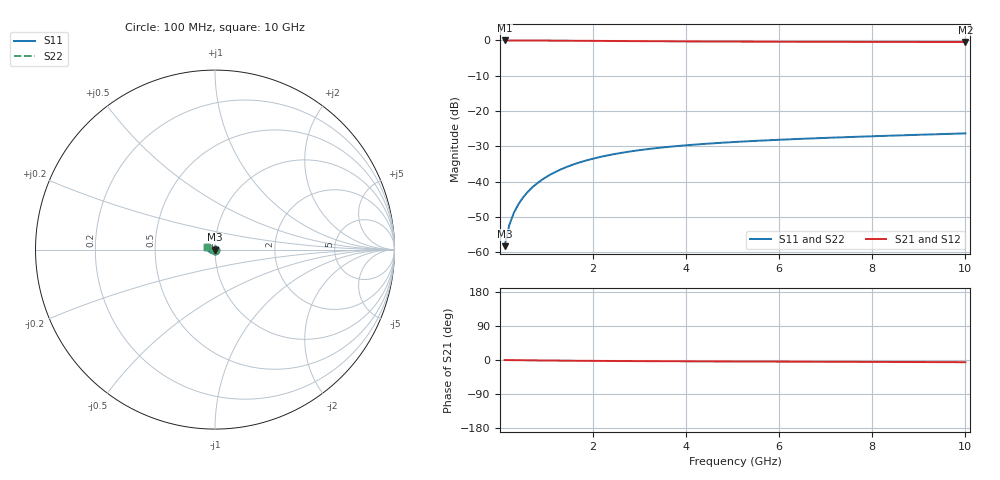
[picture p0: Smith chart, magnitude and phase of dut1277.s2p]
! Touchstone file exported from HFSS 2024.1.0
!  File:  C:/UserFiles/LocalFiles/RDL_TSV_Batchsim/temp_TSV1_1277_1780254906.aedt
!  Generated:  03:20:40 AM Jun  1, 2026
!  Design:  TSV1
!  Project:  temp_TSV1_1277_1780254906
!  Setup:  Setup1
!  Solution:  Sweep
! Variables:
!  dtsv = 9.65um
!  hbump = 3um
!  htsv = 88.11um
!  lrdl = 252.1521522um
!  p = 40
!  p1 = 58.45um
!  t = 500um
!  trdl = 3um
!  wrdl = 24.89489489um
# GHz S MA R 50.000000
! Terminal data exported
! Port[1] = TSV22_T1
! Port[2] = TSV22_T2
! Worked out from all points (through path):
!   100 points, 100 MHz to 10 GHz, reference 50 ohm
!   highest |S21| = 0.00 dB at 100 MHz (marker M1); lowest = -0.4 dB at 10 GHz (marker M2)
!   lowest |S11| = -58.3 dB at 100 MHz (marker M3), VSWR 1.00, Z = 50 - j0.121 ohm
!   |S11| at or under -10 dB: start of sweep to end of sweep
!   |S22| runs from -58.3 to -26.4 dB; largest |S21 - S12| = 4.1e-15
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0.1  0.001214 -84.3  0.9998 -0.1  0.9998 -0.1  0.001214 -84.3
! Gamma 0 0 0 0
! Port Impedance 50 0 50 0
0.2  0.002412 -90.1  0.9996 -0.3  0.9996 -0.3  0.002412 -90.2
0.3  0.003612 -93.5  0.9994 -0.4  0.9994 -0.4  0.003612 -93.5
0.4  0.004806 -96.2  0.9991 -0.5  0.9991 -0.5  0.004806 -96.2
0.5  0.005992 -98.7  0.9987 -0.7  0.9987 -0.7  0.005992 -98.7
0.6  0.007164 -101.0  0.9982 -0.8  0.9982 -0.8  0.007164 -101.0
0.7  0.008319 -103.2  0.9977 -0.9  0.9977 -0.9  0.008319 -103.2
0.8  0.009456 -105.4  0.997 -1.1  0.997 -1.1  0.009456 -105.4
0.9  0.01057 -107.5  0.9964 -1.2  0.9964 -1.2  0.01057 -107.5
1.1  0.01273 -111.7  0.9949 -1.4  0.9949 -1.4  0.01273 -111.7
1.4  0.01578 -117.5  0.9923 -1.7  0.9923 -1.7  0.01578 -117.5
1.6  0.01767 -121.3  0.9904 -1.9  0.9904 -1.9  0.01767 -121.3
1.8  0.01944 -124.8  0.9885 -2.1  0.9885 -2.1  0.01944 -124.8
2.1  0.0219 -129.9  0.9855 -2.4  0.9855 -2.4  0.0219 -129.9
2.5  0.02479 -136.2  0.9817 -2.7  0.9817 -2.7  0.02479 -136.2
2.9  0.0273 -142.0  0.9781 -2.9  0.9781 -2.9  0.0273 -142.0
3.4  0.02998 -148.5  0.9739 -3.2  0.9739 -3.2  0.02998 -148.5
4.2  0.03345 -157.7  0.9684 -3.5  0.9684 -3.5  0.03345 -157.7
5.1  0.03655 -166.5  0.9635 -3.9  0.9635 -3.9  0.03654 -166.5
6.7  0.04087 -179.2  0.9575 -4.5  0.9575 -4.5  0.04087 -179.2
8.4  0.04473 169.9  0.9534 -5.1  0.9534 -5.1  0.04473 169.9
10  0.04814 161.5  0.9508 -5.8  0.9508 -5.8  0.04814 161.5
